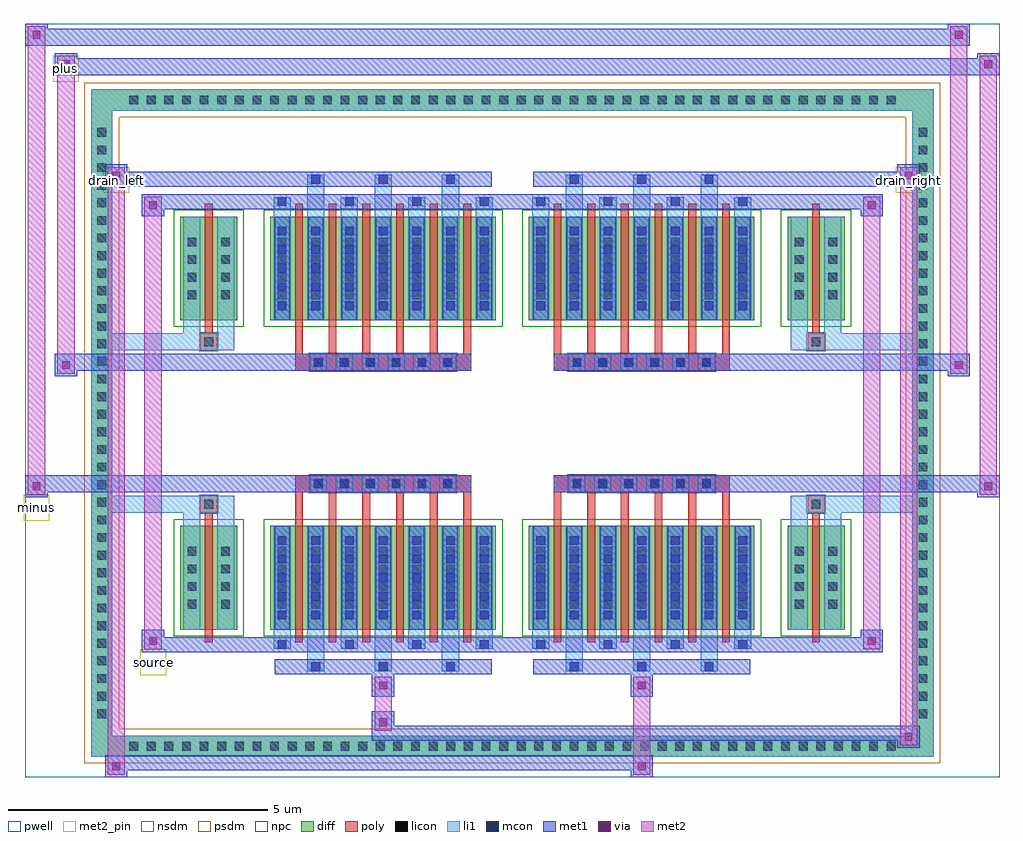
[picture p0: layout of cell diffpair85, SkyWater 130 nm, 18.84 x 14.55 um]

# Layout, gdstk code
import gdstk
lib = gdstk.Library(unit=1e-6, precision=5e-09)
def R(c, l, rs):  # rectangles x0, y0, x1, y1
    for r in rs: c.add(gdstk.rectangle(r[:2], r[2:], *l))
def A(c, l, x, y, w, h, nx, ny, dx, dy):  # array of equal rectangles
    R(c, l, [(x+i*dx, y+j*dy, x+i*dx+w, y+j*dy+h) for i in range(nx) for j in range(ny)])
def P(c, l, *ps):  # polygons
    for p in ps: c.add(gdstk.Polygon(p, *l))
pwell = (64, 44)
diff = (65, 20)
poly = (66, 20)
licon = (66, 44)
li1 = (67, 20)
mcon = (67, 44)
met1 = (68, 20)
via = (68, 44)
met2_pin = (69, 16)
met2 = (69, 20)
nsdm = (93, 44)
psdm = (94, 20)
npc = (95, 20)

diffpair85 = lib.new_cell('diffpair85')
R(diffpair85, pwell, [(-9.4,-6.84,9.4,7.71), (-6.72,-5.03,-0.01,-0.805), (0.01,-5.03,6.72,-0.805), (-6.72,0.805,-0.01,5.03), (0.01,0.805,6.72,5.03)])
A(diffpair85, diff, -7.515, -6.44, 0.41, 0.41, 44, 2, 0.34, 12.47)
A(diffpair85, diff, -8.13, -5.815, 0.41, 0.41, 1, 34, 0, 0.34)
A(diffpair85, diff, 7.72, -5.815, 0.41, 0.41, 1, 34, 0, 0.34)
R(diffpair85, diff, [(-7.515,-6.44,7.515,-6.03), (-8.13,-5.815,-7.72,5.815), (7.72,-5.815,8.13,5.815), (-6.41,-3.985,-5.31,-1.985), (-4.67,-3.985,-0.32,-1.985), (0.32,-3.985,4.67,-1.985), (5.31,-3.985,6.41,-1.985), (-6.41,1.985,-5.31,3.985), (-4.67,1.985,-0.32,3.985), (0.32,1.985,4.67,3.985), (5.31,1.985,6.41,3.985), (-7.515,6.03,7.515,6.44)])
P(diffpair85, diff, [(8.13,6.44),(-8.13,6.44),(-8.13,-6.03),(-7.72,-6.03),(-7.72,6.03),(7.72,6.03),(7.72,-6.03),(-7.72,-6.03),(-8.13,-6.03),(-8.13,-6.44),(8.13,-6.44)])
A(diffpair85, poly, -4.195, -4.235, 0.15, 2.5, 6, 2, 0.65, 5.97)
A(diffpair85, poly, 0.795, -4.235, 0.15, 2.5, 6, 2, 0.65, 5.97)
A(diffpair85, poly, -4.195, -1.735, 0.15, 0.4, 6, 2, 0.65, 3.07)
A(diffpair85, poly, 0.795, -1.735, 0.15, 0.4, 6, 2, 0.65, 3.07)
A(diffpair85, poly, -3.91, -1.335, 0.33, 0.33, 6, 2, 0.5, 2.34)
A(diffpair85, poly, 1.08, -1.335, 0.33, 0.33, 6, 2, 0.5, 2.34)
R(diffpair85, poly, [(-5.935,-4.235,-5.785,-1.735), (5.785,-4.235,5.935,-1.735), (-6.025,-1.735,-5.695,-1.405), (-6.025,-1.735,-5.695,-1.405), (5.695,-1.735,6.025,-1.405), (5.695,-1.735,6.025,-1.405), (-4.195,-1.335,-0.795,-1.005), (0.795,-1.335,4.195,-1.005), (-4.195,1.005,-0.795,1.335), (0.795,1.005,4.195,1.335), (-6.025,1.405,-5.695,1.735), (-6.025,1.405,-5.695,1.735), (5.695,1.405,6.025,1.735), (5.695,1.405,6.025,1.735), (-5.935,1.735,-5.785,4.235), (5.785,1.735,5.935,4.235)])
A(diffpair85, licon, -7.395, -6.32, 0.17, 0.17, 44, 2, 0.34, 12.47)
A(diffpair85, licon, -8.01, -5.695, 0.17, 0.17, 1, 34, 0, 0.34)
A(diffpair85, licon, 7.84, -5.695, 0.17, 0.17, 1, 34, 0, 0.34)
A(diffpair85, licon, -6.27, -3.58, 0.17, 0.17, 1, 4, 0, 0.34)
A(diffpair85, licon, -5.62, -3.58, 0.17, 0.17, 1, 4, 0, 0.34)
A(diffpair85, licon, -4.53, -3.58, 0.17, 0.17, 7, 4, 0.65, 0.34)
A(diffpair85, licon, 0.46, -3.58, 0.17, 0.17, 7, 4, 0.65, 0.34)
A(diffpair85, licon, 5.45, -3.58, 0.17, 0.17, 1, 4, 0, 0.34)
A(diffpair85, licon, 6.1, -3.58, 0.17, 0.17, 1, 4, 0, 0.34)
A(diffpair85, licon, -3.83, -1.255, 0.17, 0.17, 6, 2, 0.5, 2.34)
A(diffpair85, licon, 1.16, -1.255, 0.17, 0.17, 6, 2, 0.5, 2.34)
A(diffpair85, licon, -6.27, 2.39, 0.17, 0.17, 1, 4, 0, 0.34)
A(diffpair85, licon, -5.62, 2.39, 0.17, 0.17, 1, 4, 0, 0.34)
A(diffpair85, licon, -4.53, 2.39, 0.17, 0.17, 7, 4, 0.65, 0.34)
A(diffpair85, licon, 0.46, 2.39, 0.17, 0.17, 7, 4, 0.65, 0.34)
A(diffpair85, licon, 5.45, 2.39, 0.17, 0.17, 1, 4, 0, 0.34)
A(diffpair85, licon, 6.1, 2.39, 0.17, 0.17, 1, 4, 0, 0.34)
R(diffpair85, licon, [(-5.945,-1.655,-5.775,-1.485), (5.775,-1.655,5.945,-1.485), (-5.945,1.485,-5.775,1.655), (5.775,1.485,5.945,1.655)])
A(diffpair85, li1, -7.475, -6.4, 0.33, 0.33, 44, 2, 0.34, 12.47)
A(diffpair85, li1, -8.09, -5.775, 0.33, 0.33, 1, 34, 0, 0.34)
A(diffpair85, li1, 7.76, -5.775, 0.33, 0.33, 1, 34, 0, 0.34)
A(diffpair85, li1, -3.96, -4.79, 0.33, 0.805, 3, 2, 1.3, 8.775)
A(diffpair85, li1, -3.88, -4.79, 0.17, 0.17, 3, 2, 1.3, 9.41)
A(diffpair85, li1, 1.03, -4.79, 0.33, 0.805, 3, 2, 1.3, 8.775)
A(diffpair85, li1, 1.11, -4.79, 0.17, 0.17, 3, 2, 1.3, 9.41)
A(diffpair85, li1, -4.61, -4.36, 0.33, 0.375, 4, 2, 1.3, 8.345)
A(diffpair85, li1, -4.53, -4.36, 0.17, 0.17, 4, 2, 1.3, 8.55)
A(diffpair85, li1, 0.38, -4.36, 0.33, 0.375, 4, 2, 1.3, 8.345)
A(diffpair85, li1, 0.46, -4.36, 0.17, 0.17, 4, 2, 1.3, 8.55)
A(diffpair85, li1, -4.61, -3.985, 0.33, 2, 7, 2, 0.65, 5.97)
A(diffpair85, li1, 0.38, -3.985, 0.33, 2, 7, 2, 0.65, 5.97)
A(diffpair85, li1, -4.53, -3.79, 0.17, 0.17, 7, 5, 0.65, 0.36)
A(diffpair85, li1, -4.53, -3.79, 0.17, 1.61, 7, 2, 0.65, 5.97)
A(diffpair85, li1, 0.46, -3.79, 0.17, 0.17, 7, 5, 0.65, 0.36)
A(diffpair85, li1, 0.46, -3.79, 0.17, 1.61, 7, 2, 0.65, 5.97)
A(diffpair85, li1, -6.35, -3.66, 0.33, 0.33, 1, 4, 0, 0.34)
A(diffpair85, li1, -5.7, -3.66, 0.33, 0.33, 1, 4, 0, 0.34)
A(diffpair85, li1, -4.61, -3.66, 0.33, 0.33, 7, 4, 0.65, 0.34)
A(diffpair85, li1, 0.38, -3.66, 0.33, 0.33, 7, 4, 0.65, 0.34)
A(diffpair85, li1, 5.37, -3.66, 0.33, 0.33, 1, 4, 0, 0.34)
A(diffpair85, li1, 6.02, -3.66, 0.33, 0.33, 1, 4, 0, 0.34)
A(diffpair85, li1, -3.91, -1.335, 0.33, 0.33, 6, 2, 0.5, 2.34)
A(diffpair85, li1, 1.08, -1.335, 0.33, 0.33, 6, 2, 0.5, 2.34)
A(diffpair85, li1, -4.53, 2.18, 0.17, 0.17, 7, 5, 0.65, 0.36)
A(diffpair85, li1, 0.46, 2.18, 0.17, 0.17, 7, 5, 0.65, 0.36)
A(diffpair85, li1, -6.35, 2.31, 0.33, 0.33, 1, 4, 0, 0.34)
A(diffpair85, li1, -5.7, 2.31, 0.33, 0.33, 1, 4, 0, 0.34)
A(diffpair85, li1, -4.61, 2.31, 0.33, 0.33, 7, 4, 0.65, 0.34)
A(diffpair85, li1, 0.38, 2.31, 0.33, 0.33, 7, 4, 0.65, 0.34)
A(diffpair85, li1, 5.37, 2.31, 0.33, 0.33, 1, 4, 0, 0.34)
A(diffpair85, li1, 6.02, 2.31, 0.33, 0.33, 1, 4, 0, 0.34)
R(diffpair85, li1, [(-8.13,-6.44,-7.72,-6.03), (-8.13,-6.44,-7.72,-6.03), (-7.72,-6.44,7.72,-6.03), (7.72,-6.44,8.13,-6.03), (7.72,-6.44,8.13,-6.03), (-8.13,-6.03,-7.72,6.03), (7.72,-6.03,8.13,6.03), (-6.35,-3.985,-6.02,-1.985), (-5.7,-3.985,-5.37,-1.985), (5.37,-3.985,5.7,-1.985), (6.02,-3.985,6.35,-1.985), (-6.35,-1.985,-6.02,-1.405), (-5.7,-1.985,-5.37,-1.405), (5.37,-1.985,5.7,-1.405), (6.02,-1.985,6.35,-1.405), (-8.13,-1.735,-6.025,-1.405), (-6.35,-1.735,-6.025,-1.405), (-6.025,-1.735,-5.695,-1.405), (-5.695,-1.735,-5.37,-1.405), (5.37,-1.735,5.695,-1.405), (5.695,-1.735,6.025,-1.405), (5.695,-1.735,8.13,-1.405), (6.025,-1.735,6.35,-1.405), (-8.13,1.405,-6.025,1.735), (-6.35,1.405,-6.025,1.735), (-6.35,1.405,-6.02,1.985), (-6.025,1.405,-5.695,1.735), (-5.7,1.405,-5.37,1.985), (-5.695,1.405,-5.37,1.735), (5.37,1.405,5.695,1.735), (5.37,1.405,5.7,1.985), (5.695,1.405,6.025,1.735), (5.695,1.405,8.13,1.735), (6.02,1.405,6.35,1.985), (6.025,1.405,6.35,1.735), (-6.35,1.985,-6.02,3.985), (-5.7,1.985,-5.37,3.985), (5.37,1.985,5.7,3.985), (6.02,1.985,6.35,3.985), (-8.13,6.03,-7.72,6.44), (-8.13,6.03,-7.72,6.44), (-7.72,6.03,7.72,6.44), (7.72,6.03,8.13,6.44), (7.72,6.03,8.13,6.44)])
A(diffpair85, mcon, -3.88, -4.79, 0.17, 0.17, 3, 2, 1.3, 9.41)
A(diffpair85, mcon, 1.11, -4.79, 0.17, 0.17, 3, 2, 1.3, 9.41)
A(diffpair85, mcon, -4.53, -4.36, 0.17, 0.17, 4, 2, 1.3, 8.55)
A(diffpair85, mcon, 0.46, -4.36, 0.17, 0.17, 4, 2, 1.3, 8.55)
A(diffpair85, mcon, -4.53, -3.79, 0.17, 0.17, 7, 5, 0.65, 0.36)
A(diffpair85, mcon, 0.46, -3.79, 0.17, 0.17, 7, 5, 0.65, 0.36)
A(diffpair85, mcon, -3.83, -1.255, 0.17, 0.17, 6, 2, 0.5, 2.34)
A(diffpair85, mcon, 1.16, -1.255, 0.17, 0.17, 6, 2, 0.5, 2.34)
A(diffpair85, mcon, -4.53, 2.18, 0.17, 0.17, 7, 5, 0.65, 0.36)
A(diffpair85, mcon, 0.46, 2.18, 0.17, 0.17, 7, 5, 0.65, 0.36)
A(diffpair85, met1, -3.94, -4.85, 0.29, 0.29, 3, 2, 1.3, 9.41)
A(diffpair85, met1, 1.05, -4.85, 0.29, 0.29, 3, 2, 1.3, 9.41)
A(diffpair85, met1, -4.59, -4.42, 0.29, 0.29, 4, 2, 1.3, 8.55)
A(diffpair85, met1, 0.4, -4.42, 0.29, 0.29, 4, 2, 1.3, 8.55)
A(diffpair85, met1, -4.59, -3.985, 0.29, 2, 7, 2, 0.65, 5.97)
A(diffpair85, met1, 0.4, -3.985, 0.29, 2, 7, 2, 0.65, 5.97)
A(diffpair85, met1, -4.59, -3.85, 0.29, 0.29, 7, 5, 0.65, 0.36)
A(diffpair85, met1, 0.4, -3.85, 0.29, 0.29, 7, 5, 0.65, 0.36)
A(diffpair85, met1, -3.89, -1.315, 0.29, 0.29, 6, 2, 0.5, 2.34)
A(diffpair85, met1, 1.1, -1.315, 0.29, 0.29, 6, 2, 0.5, 2.34)
A(diffpair85, met1, -4.59, 2.12, 0.29, 0.29, 7, 5, 0.65, 0.36)
A(diffpair85, met1, 0.4, 2.12, 0.29, 0.29, 7, 5, 0.65, 0.36)
R(diffpair85, met1, [(-7.86,-6.84,-7.43,-6.41), (2.28,-6.84,2.71,-6.41), (-7.86,-6.7,2.71,-6.41), (7.43,-6.27,7.86,-5.84), (-2.71,-6.13,7.86,-5.84), (-2.71,-5.99,-2.28,-5.56), (-2.71,-5.28,-2.28,-4.85), (2.28,-5.28,2.71,-4.85), (-4.59,-4.85,-0.4,-4.56), (0.4,-4.85,4.59,-4.56), (-7.15,-4.42,-6.72,-3.99), (-7.15,-4.42,-4.59,-4.13), (-4.59,-4.42,-0.4,-4.13), (-0.4,-4.42,0.4,-4.13), (0.4,-4.42,4.59,-4.13), (4.59,-4.42,7.15,-4.13), (6.72,-4.42,7.15,-3.99), (-9.4,-1.435,-8.97,-1.005), (8.97,-1.435,9.4,-1.005), (-9.4,-1.335,-0.795,-1.005), (-4.195,-1.335,-0.795,-1.005), (0.795,-1.335,4.195,-1.005), (0.795,-1.335,9.4,-1.005), (-8.83,0.905,-8.4,1.335), (8.4,0.905,8.83,1.335), (-8.83,1.005,-4.195,1.335), (-4.195,1.005,-0.795,1.335), (0.795,1.005,4.195,1.335), (4.195,1.005,8.83,1.335), (-7.15,3.99,-6.72,4.42), (6.72,3.99,7.15,4.42), (-7.15,4.13,-4.59,4.42), (-4.59,4.13,-0.4,4.42), (-0.4,4.13,0.4,4.42), (0.4,4.13,4.59,4.42), (4.59,4.13,7.15,4.42), (-7.86,4.56,-7.43,4.99), (-7.86,4.56,-4.59,4.85), (-4.59,4.56,-0.4,4.85), (0.4,4.56,4.59,4.85), (4.59,4.56,7.86,4.85), (7.43,4.56,7.86,4.99), (-8.83,6.71,-8.4,7.14), (-8.83,6.71,-6.72,7.04), (-6.72,6.71,6.72,7.04), (6.72,6.71,9.4,7.04), (8.97,6.71,9.4,7.14), (-9.4,7.28,-8.97,7.71), (-9.4,7.28,-6.72,7.61), (-6.72,7.28,6.72,7.61), (6.72,7.28,8.83,7.61), (8.4,7.28,8.83,7.71)])
R(diffpair85, via, [(-7.72,-6.7,-7.57,-6.55), (2.42,-6.7,2.57,-6.55), (7.57,-6.13,7.72,-5.98), (-2.57,-5.85,-2.42,-5.7), (-2.57,-5.14,-2.42,-4.99), (2.42,-5.14,2.57,-4.99), (-7.01,-4.28,-6.86,-4.13), (6.86,-4.28,7.01,-4.13), (-9.26,-1.295,-9.11,-1.145), (9.11,-1.295,9.26,-1.145), (-8.69,1.045,-8.54,1.195), (8.54,1.045,8.69,1.195), (-7.01,4.13,-6.86,4.28), (6.86,4.13,7.01,4.28), (-7.72,4.7,-7.57,4.85), (7.57,4.7,7.72,4.85), (-8.69,6.85,-8.54,7), (9.11,6.85,9.26,7), (-9.26,7.42,-9.11,7.57), (8.54,7.42,8.69,7.57)])
R(diffpair85, met2_pin, [(-7.185,-4.87,-6.685,-4.37), (-9.435,-1.885,-8.935,-1.385), (-7.895,4.44,-7.395,4.94), (7.395,4.44,7.895,4.94), (-8.865,6.59,-8.365,7.09)])
R(diffpair85, met2, [(-7.81,-6.79,-7.48,-6.46), (-7.81,-6.79,-7.48,4.94), (2.33,-6.79,2.66,-6.46), (2.33,-6.46,2.66,-5.23), (7.48,-6.22,7.81,-5.89), (7.48,-6.22,7.81,4.94), (-2.66,-5.94,-2.33,-5.61), (-2.66,-5.61,-2.33,-5.23), (-2.66,-5.23,-2.33,-4.9), (2.33,-5.23,2.66,-4.9), (-7.1,-4.37,-6.77,-4.04), (-7.1,-4.37,-6.77,4.37), (6.77,-4.37,7.1,-4.04), (6.77,-4.37,7.1,4.37), (-9.35,-1.385,-9.02,-1.055), (-9.35,-1.385,-9.02,7.66), (9.02,-1.385,9.35,-1.055), (9.02,-1.385,9.35,7.09), (-8.78,0.955,-8.45,1.285), (-8.78,0.955,-8.45,7.09), (8.45,0.955,8.78,1.285), (8.45,0.955,8.78,7.66), (-7.1,4.04,-6.77,4.37), (6.77,4.04,7.1,4.37), (-7.81,4.61,-7.48,4.94), (7.48,4.61,7.81,4.94), (-8.78,6.76,-8.45,7.09), (9.02,6.76,9.35,7.09), (-9.35,7.33,-9.02,7.66), (8.45,7.33,8.78,7.66)])
P(diffpair85, met2, [(9.35,-1.385),(9.35,-1.385),(9.35,-1.055),(9.35,-1.055)],
  [(9.35,6.76),(9.35,6.76),(9.35,7.09),(9.35,7.09)],
  [(-9.02,-1.385),(-9.02,-1.385),(-9.02,-1.055),(-9.02,-1.055)],
  [(-9.02,7.33),(-9.02,7.33),(-9.02,7.66),(-9.02,7.66)],
  [(8.78,0.955),(8.78,0.955),(8.78,1.285),(8.78,1.285)],
  [(8.78,7.33),(8.78,7.33),(8.78,7.66),(8.78,7.66)],
  [(-8.45,0.955),(-8.45,0.955),(-8.45,1.285),(-8.45,1.285)],
  [(-8.45,6.76),(-8.45,6.76),(-8.45,7.09),(-8.45,7.09)],
  [(-7.48,-6.79),(-7.48,-6.79),(-7.48,-6.46),(-7.48,-6.46)],
  [(-7.48,4.61),(-7.48,4.61),(-7.48,4.94),(-7.48,4.94)],
  [(7.81,-6.22),(7.81,-6.22),(7.81,-5.89),(7.81,-5.89)],
  [(7.81,4.61),(7.81,4.61),(7.81,4.94),(7.81,4.94)],
  [(-6.77,-4.37),(-6.77,-4.37),(-6.77,-4.04),(-6.77,-4.04)],
  [(-6.77,4.04),(-6.77,4.04),(-6.77,4.37),(-6.77,4.37)],
  [(7.1,-4.37),(7.1,-4.37),(7.1,-4.04),(7.1,-4.04)],
  [(7.1,4.04),(7.1,4.04),(7.1,4.37),(7.1,4.37)])
R(diffpair85, nsdm, [(-6.54,-4.115,-5.18,-1.855), (-4.8,-4.115,-0.19,-1.855), (0.19,-4.115,4.8,-1.855), (5.18,-4.115,6.54,-1.855), (-6.54,1.855,-5.18,4.115), (-4.8,1.855,-0.19,4.115), (0.19,1.855,4.8,4.115), (5.18,1.855,6.54,4.115)])
P(diffpair85, psdm, [(8.26,6.57),(-8.26,6.57),(-8.26,-5.9),(-7.59,-5.9),(-7.59,5.9),(7.59,5.9),(7.59,-5.9),(-7.59,-5.9),(-8.26,-5.9),(-8.26,-6.57),(8.26,-6.57)])
A(diffpair85, npc, -3.93, -1.355, 0.37, 0.37, 6, 2, 0.5, 2.34)
A(diffpair85, npc, 1.06, -1.355, 0.37, 0.37, 6, 2, 0.5, 2.34)
R(diffpair85, npc, [(-6.045,-1.755,-5.675,-1.385), (5.675,-1.755,6.045,-1.385), (-3.93,-1.355,-3.06,-0.985), (-3.93,-1.355,-3.06,-0.985), (-3.43,-1.355,-2.56,-0.985), (-3.43,-1.355,-2.56,-0.985), (-2.93,-1.355,-2.06,-0.985), (-2.93,-1.355,-2.06,-0.985), (-2.43,-1.355,-1.56,-0.985), (-2.43,-1.355,-1.56,-0.985), (-1.93,-1.355,-1.06,-0.985), (-1.93,-1.355,-1.06,-0.985), (1.06,-1.355,1.93,-0.985), (1.06,-1.355,1.93,-0.985), (1.56,-1.355,2.43,-0.985), (1.56,-1.355,2.43,-0.985), (2.06,-1.355,2.93,-0.985), (2.06,-1.355,2.93,-0.985), (2.56,-1.355,3.43,-0.985), (2.56,-1.355,3.43,-0.985), (3.06,-1.355,3.93,-0.985), (3.06,-1.355,3.93,-0.985), (-3.93,0.985,-3.06,1.355), (-3.93,0.985,-3.06,1.355), (-3.43,0.985,-2.56,1.355), (-3.43,0.985,-2.56,1.355), (-2.93,0.985,-2.06,1.355), (-2.93,0.985,-2.06,1.355), (-2.43,0.985,-1.56,1.355), (-2.43,0.985,-1.56,1.355), (-1.93,0.985,-1.06,1.355), (-1.93,0.985,-1.06,1.355), (1.06,0.985,1.93,1.355), (1.06,0.985,1.93,1.355), (1.56,0.985,2.43,1.355), (1.56,0.985,2.43,1.355), (2.06,0.985,2.93,1.355), (2.06,0.985,2.93,1.355), (2.56,0.985,3.43,1.355), (2.56,0.985,3.43,1.355), (3.06,0.985,3.93,1.355), (3.06,0.985,3.93,1.355), (-6.045,1.385,-5.675,1.755), (5.675,1.385,6.045,1.755)])
diffpair85.add(gdstk.Label('minus', (-9.185,-1.635), layer=69, texttype=5))
diffpair85.add(gdstk.Label('drain_right', (7.645,4.69), layer=69, texttype=5))
diffpair85.add(gdstk.Label('drain_left', (-7.645,4.69), layer=69, texttype=5))
diffpair85.add(gdstk.Label('source', (-6.935,-4.62), layer=69, texttype=5))
diffpair85.add(gdstk.Label('plus', (-8.615,6.84), layer=69, texttype=5))

lib.write_gds('diffpair85.gds')
